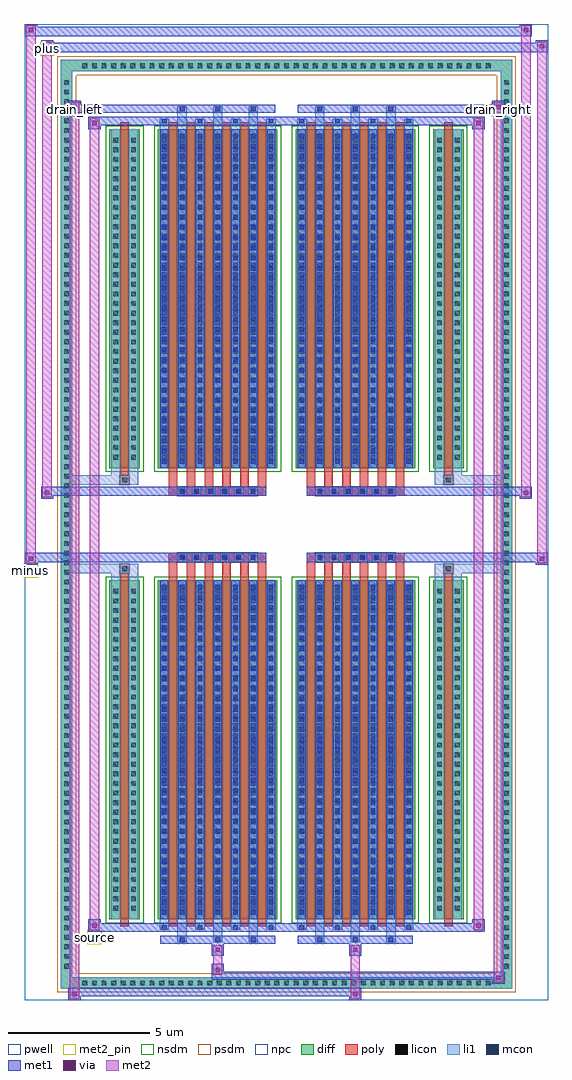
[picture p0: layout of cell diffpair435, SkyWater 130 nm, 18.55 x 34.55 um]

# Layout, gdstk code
import gdstk
lib = gdstk.Library(unit=1e-6, precision=5e-09)
def R(c, l, rs):  # rectangles x0, y0, x1, y1
    for r in rs: c.add(gdstk.rectangle(r[:2], r[2:], *l))
def A(c, l, x, y, w, h, nx, ny, dx, dy):  # array of equal rectangles
    R(c, l, [(x+i*dx, y+j*dy, x+i*dx+w, y+j*dy+h) for i in range(nx) for j in range(ny)])
def P(c, l, *ps):  # polygons
    for p in ps: c.add(gdstk.Polygon(p, *l))
pwell = (64, 44)
diff = (65, 20)
poly = (66, 20)
licon = (66, 44)
li1 = (67, 20)
mcon = (67, 44)
met1 = (68, 20)
via = (68, 44)
met2_pin = (69, 16)
met2 = (69, 20)
nsdm = (93, 44)
psdm = (94, 20)
npc = (95, 20)

diffpair435 = lib.new_cell('diffpair435')
R(diffpair435, pwell, [(-9.26,-16.84,9.26,17.71), (-6.58,-15.03,-0.01,-0.805), (0.01,-15.03,6.58,-0.805), (-6.58,0.805,-0.01,15.03), (0.01,0.805,6.58,15.03)])
A(diffpair435, diff, -7.345, -16.44, 0.41, 0.41, 43, 2, 0.34, 32.47)
A(diffpair435, diff, -7.99, -15.845, 0.41, 0.41, 1, 93, 0, 0.34)
A(diffpair435, diff, 7.58, -15.845, 0.41, 0.41, 1, 93, 0, 0.34)
R(diffpair435, diff, [(-7.345,-16.44,7.345,-16.03), (-7.99,-15.845,-7.58,15.845), (7.58,-15.845,7.99,15.845), (-6.27,-13.985,-5.19,-1.985), (-4.55,-13.985,-0.32,-1.985), (0.32,-13.985,4.55,-1.985), (5.19,-13.985,6.27,-1.985), (-6.27,1.985,-5.19,13.985), (-4.55,1.985,-0.32,13.985), (0.32,1.985,4.55,13.985), (5.19,1.985,6.27,13.985), (-7.345,16.03,7.345,16.44)])
P(diffpair435, diff, [(7.99,16.44),(-7.99,16.44),(-7.99,-16.03),(-7.58,-16.03),(-7.58,16.03),(7.58,16.03),(7.58,-16.03),(-7.58,-16.03),(-7.99,-16.03),(-7.99,-16.44),(7.99,-16.44)])
A(diffpair435, poly, -4.16, -14.235, 0.3, 12.5, 6, 2, 0.63, 15.97)
A(diffpair435, poly, 0.71, -14.235, 0.3, 12.5, 6, 2, 0.63, 15.97)
A(diffpair435, poly, -4.16, -1.735, 0.3, 0.4, 6, 2, 0.63, 3.07)
A(diffpair435, poly, 0.71, -1.735, 0.3, 0.4, 6, 2, 0.63, 3.07)
A(diffpair435, poly, -3.85, -1.335, 0.33, 0.33, 6, 2, 0.5, 2.34)
A(diffpair435, poly, 1.02, -1.335, 0.33, 0.33, 6, 2, 0.5, 2.34)
R(diffpair435, poly, [(-5.88,-14.235,-5.58,-1.735), (5.58,-14.235,5.88,-1.735), (-5.895,-1.735,-5.565,-1.405), (-5.895,-1.735,-5.565,-1.405), (5.565,-1.735,5.895,-1.405), (5.565,-1.735,5.895,-1.405), (-4.16,-1.335,-0.71,-1.005), (0.71,-1.335,4.16,-1.005), (-4.16,1.005,-0.71,1.335), (0.71,1.005,4.16,1.335), (-5.895,1.405,-5.565,1.735), (-5.895,1.405,-5.565,1.735), (5.565,1.405,5.895,1.735), (5.565,1.405,5.895,1.735), (-5.88,1.735,-5.58,14.235), (5.58,1.735,5.88,14.235)])
A(diffpair435, licon, -7.225, -16.32, 0.17, 0.17, 43, 2, 0.34, 32.47)
A(diffpair435, licon, -7.87, -15.725, 0.17, 0.17, 1, 93, 0, 0.34)
A(diffpair435, licon, 7.7, -15.725, 0.17, 0.17, 1, 93, 0, 0.34)
A(diffpair435, licon, -6.13, -13.68, 0.17, 0.17, 1, 34, 0, 0.34)
A(diffpair435, licon, -5.5, -13.68, 0.17, 0.17, 1, 34, 0, 0.34)
A(diffpair435, licon, -4.41, -13.68, 0.17, 0.17, 7, 34, 0.63, 0.34)
A(diffpair435, licon, 0.46, -13.68, 0.17, 0.17, 7, 34, 0.63, 0.34)
A(diffpair435, licon, 5.33, -13.68, 0.17, 0.17, 1, 34, 0, 0.34)
A(diffpair435, licon, 5.96, -13.68, 0.17, 0.17, 1, 34, 0, 0.34)
A(diffpair435, licon, -3.77, -1.255, 0.17, 0.17, 6, 2, 0.5, 2.34)
A(diffpair435, licon, 1.1, -1.255, 0.17, 0.17, 6, 2, 0.5, 2.34)
A(diffpair435, licon, -6.13, 2.29, 0.17, 0.17, 1, 34, 0, 0.34)
A(diffpair435, licon, -5.5, 2.29, 0.17, 0.17, 1, 34, 0, 0.34)
A(diffpair435, licon, -4.41, 2.29, 0.17, 0.17, 7, 34, 0.63, 0.34)
A(diffpair435, licon, 0.46, 2.29, 0.17, 0.17, 7, 34, 0.63, 0.34)
A(diffpair435, licon, 5.33, 2.29, 0.17, 0.17, 1, 34, 0, 0.34)
A(diffpair435, licon, 5.96, 2.29, 0.17, 0.17, 1, 34, 0, 0.34)
R(diffpair435, licon, [(-5.815,-1.655,-5.645,-1.485), (5.645,-1.655,5.815,-1.485), (-5.815,1.485,-5.645,1.655), (5.645,1.485,5.815,1.655)])
A(diffpair435, li1, -7.305, -16.4, 0.33, 0.33, 43, 2, 0.34, 32.47)
A(diffpair435, li1, -7.95, -15.805, 0.33, 0.33, 1, 93, 0, 0.34)
A(diffpair435, li1, 7.62, -15.805, 0.33, 0.33, 1, 93, 0, 0.34)
A(diffpair435, li1, -3.86, -14.79, 0.33, 0.805, 3, 2, 1.26, 28.775)
A(diffpair435, li1, -3.78, -14.79, 0.17, 0.17, 3, 2, 1.26, 29.41)
A(diffpair435, li1, 1.01, -14.79, 0.33, 0.805, 3, 2, 1.26, 28.775)
A(diffpair435, li1, 1.09, -14.79, 0.17, 0.17, 3, 2, 1.26, 29.41)
A(diffpair435, li1, -4.49, -14.36, 0.33, 0.375, 4, 2, 1.26, 28.345)
A(diffpair435, li1, -4.41, -14.36, 0.17, 0.17, 4, 2, 1.26, 28.55)
A(diffpair435, li1, 0.38, -14.36, 0.33, 0.375, 4, 2, 1.26, 28.345)
A(diffpair435, li1, 0.46, -14.36, 0.17, 0.17, 4, 2, 1.26, 28.55)
A(diffpair435, li1, -4.49, -13.985, 0.33, 12, 7, 2, 0.63, 15.97)
A(diffpair435, li1, 0.38, -13.985, 0.33, 12, 7, 2, 0.63, 15.97)
A(diffpair435, li1, -4.41, -13.83, 0.17, 0.17, 7, 33, 0.63, 0.36)
A(diffpair435, li1, -4.41, -13.83, 0.17, 11.69, 7, 2, 0.63, 15.97)
A(diffpair435, li1, 0.46, -13.83, 0.17, 0.17, 7, 33, 0.63, 0.36)
A(diffpair435, li1, 0.46, -13.83, 0.17, 11.69, 7, 2, 0.63, 15.97)
A(diffpair435, li1, -6.21, -13.76, 0.33, 0.33, 1, 34, 0, 0.34)
A(diffpair435, li1, -5.58, -13.76, 0.33, 0.33, 1, 34, 0, 0.34)
A(diffpair435, li1, -4.49, -13.76, 0.33, 0.33, 7, 34, 0.63, 0.34)
A(diffpair435, li1, 0.38, -13.76, 0.33, 0.33, 7, 34, 0.63, 0.34)
A(diffpair435, li1, 5.25, -13.76, 0.33, 0.33, 1, 34, 0, 0.34)
A(diffpair435, li1, 5.88, -13.76, 0.33, 0.33, 1, 34, 0, 0.34)
A(diffpair435, li1, -3.85, -1.335, 0.33, 0.33, 6, 2, 0.5, 2.34)
A(diffpair435, li1, 1.02, -1.335, 0.33, 0.33, 6, 2, 0.5, 2.34)
A(diffpair435, li1, -4.41, 2.14, 0.17, 0.17, 7, 33, 0.63, 0.36)
A(diffpair435, li1, 0.46, 2.14, 0.17, 0.17, 7, 33, 0.63, 0.36)
A(diffpair435, li1, -6.21, 2.21, 0.33, 0.33, 1, 34, 0, 0.34)
A(diffpair435, li1, -5.58, 2.21, 0.33, 0.33, 1, 34, 0, 0.34)
A(diffpair435, li1, -4.49, 2.21, 0.33, 0.33, 7, 34, 0.63, 0.34)
A(diffpair435, li1, 0.38, 2.21, 0.33, 0.33, 7, 34, 0.63, 0.34)
A(diffpair435, li1, 5.25, 2.21, 0.33, 0.33, 1, 34, 0, 0.34)
A(diffpair435, li1, 5.88, 2.21, 0.33, 0.33, 1, 34, 0, 0.34)
R(diffpair435, li1, [(-7.99,-16.44,-7.58,-16.03), (-7.99,-16.44,-7.58,-16.03), (-7.58,-16.44,7.58,-16.03), (7.58,-16.44,7.99,-16.03), (7.58,-16.44,7.99,-16.03), (-7.99,-16.03,-7.58,16.03), (7.58,-16.03,7.99,16.03), (-6.21,-13.985,-5.88,-1.985), (-5.58,-13.985,-5.25,-1.985), (5.25,-13.985,5.58,-1.985), (5.88,-13.985,6.21,-1.985), (-6.21,-1.985,-5.88,-1.405), (-5.58,-1.985,-5.25,-1.405), (5.25,-1.985,5.58,-1.405), (5.88,-1.985,6.21,-1.405), (-7.99,-1.735,-5.895,-1.405), (-6.21,-1.735,-5.895,-1.405), (-5.895,-1.735,-5.565,-1.405), (-5.565,-1.735,-5.25,-1.405), (5.25,-1.735,5.565,-1.405), (5.565,-1.735,5.895,-1.405), (5.565,-1.735,7.99,-1.405), (5.895,-1.735,6.21,-1.405), (-7.99,1.405,-5.895,1.735), (-6.21,1.405,-5.895,1.735), (-6.21,1.405,-5.88,1.985), (-5.895,1.405,-5.565,1.735), (-5.58,1.405,-5.25,1.985), (-5.565,1.405,-5.25,1.735), (5.25,1.405,5.565,1.735), (5.25,1.405,5.58,1.985), (5.565,1.405,5.895,1.735), (5.565,1.405,7.99,1.735), (5.88,1.405,6.21,1.985), (5.895,1.405,6.21,1.735), (-6.21,1.985,-5.88,13.985), (-5.58,1.985,-5.25,13.985), (5.25,1.985,5.58,13.985), (5.88,1.985,6.21,13.985), (-7.99,16.03,-7.58,16.44), (-7.99,16.03,-7.58,16.44), (-7.58,16.03,7.58,16.44), (7.58,16.03,7.99,16.44), (7.58,16.03,7.99,16.44)])
A(diffpair435, mcon, -3.78, -14.79, 0.17, 0.17, 3, 2, 1.26, 29.41)
A(diffpair435, mcon, 1.09, -14.79, 0.17, 0.17, 3, 2, 1.26, 29.41)
A(diffpair435, mcon, -4.41, -14.36, 0.17, 0.17, 4, 2, 1.26, 28.55)
A(diffpair435, mcon, 0.46, -14.36, 0.17, 0.17, 4, 2, 1.26, 28.55)
A(diffpair435, mcon, -4.41, -13.83, 0.17, 0.17, 7, 33, 0.63, 0.36)
A(diffpair435, mcon, 0.46, -13.83, 0.17, 0.17, 7, 33, 0.63, 0.36)
A(diffpair435, mcon, -3.77, -1.255, 0.17, 0.17, 6, 2, 0.5, 2.34)
A(diffpair435, mcon, 1.1, -1.255, 0.17, 0.17, 6, 2, 0.5, 2.34)
A(diffpair435, mcon, -4.41, 2.14, 0.17, 0.17, 7, 33, 0.63, 0.36)
A(diffpair435, mcon, 0.46, 2.14, 0.17, 0.17, 7, 33, 0.63, 0.36)
A(diffpair435, met1, -3.84, -14.85, 0.29, 0.29, 3, 2, 1.26, 29.41)
A(diffpair435, met1, 1.03, -14.85, 0.29, 0.29, 3, 2, 1.26, 29.41)
A(diffpair435, met1, -4.47, -14.42, 0.29, 0.29, 4, 2, 1.26, 28.55)
A(diffpair435, met1, 0.4, -14.42, 0.29, 0.29, 4, 2, 1.26, 28.55)
A(diffpair435, met1, -4.47, -13.985, 0.29, 12, 7, 2, 0.63, 15.97)
A(diffpair435, met1, 0.4, -13.985, 0.29, 12, 7, 2, 0.63, 15.97)
A(diffpair435, met1, -4.47, -13.89, 0.29, 0.29, 7, 33, 0.63, 0.36)
A(diffpair435, met1, 0.4, -13.89, 0.29, 0.29, 7, 33, 0.63, 0.36)
A(diffpair435, met1, -3.83, -1.315, 0.29, 0.29, 6, 2, 0.5, 2.34)
A(diffpair435, met1, 1.04, -1.315, 0.29, 0.29, 6, 2, 0.5, 2.34)
A(diffpair435, met1, -4.47, 2.08, 0.29, 0.29, 7, 33, 0.63, 0.36)
A(diffpair435, met1, 0.4, 2.08, 0.29, 0.29, 7, 33, 0.63, 0.36)
R(diffpair435, met1, [(-7.72,-16.84,-7.29,-16.41), (2.22,-16.84,2.65,-16.41), (-7.72,-16.7,2.65,-16.41), (7.29,-16.27,7.72,-15.84), (-2.65,-16.13,7.72,-15.84), (-2.65,-15.99,-2.22,-15.56), (-2.65,-15.28,-2.22,-14.85), (2.22,-15.28,2.65,-14.85), (-4.47,-14.85,-0.4,-14.56), (0.4,-14.85,4.47,-14.56), (-7.01,-14.42,-6.58,-13.99), (-7.01,-14.42,-4.47,-14.13), (-4.47,-14.42,-0.4,-14.13), (-0.4,-14.42,0.4,-14.13), (0.4,-14.42,4.47,-14.13), (4.47,-14.42,7.01,-14.13), (6.58,-14.42,7.01,-13.99), (-9.26,-1.435,-8.83,-1.005), (8.83,-1.435,9.26,-1.005), (-9.26,-1.335,-0.71,-1.005), (-4.16,-1.335,-0.71,-1.005), (0.71,-1.335,4.16,-1.005), (0.71,-1.335,9.26,-1.005), (-8.69,0.905,-8.26,1.335), (8.26,0.905,8.69,1.335), (-8.69,1.005,-4.16,1.335), (-4.16,1.005,-0.71,1.335), (0.71,1.005,4.16,1.335), (4.16,1.005,8.69,1.335), (-7.01,13.99,-6.58,14.42), (6.58,13.99,7.01,14.42), (-7.01,14.13,-4.47,14.42), (-4.47,14.13,-0.4,14.42), (-0.4,14.13,0.4,14.42), (0.4,14.13,4.47,14.42), (4.47,14.13,7.01,14.42), (-7.72,14.56,-7.29,14.99), (-7.72,14.56,-4.47,14.85), (-4.47,14.56,-0.4,14.85), (0.4,14.56,4.47,14.85), (4.47,14.56,7.72,14.85), (7.29,14.56,7.72,14.99), (-8.69,16.71,-8.26,17.14), (-8.69,16.71,-6.58,17.04), (-6.58,16.71,6.58,17.04), (6.58,16.71,9.26,17.04), (8.83,16.71,9.26,17.14), (-9.26,17.28,-8.83,17.71), (-9.26,17.28,-6.58,17.61), (-6.58,17.28,6.58,17.61), (6.58,17.28,8.69,17.61), (8.26,17.28,8.69,17.71)])
R(diffpair435, via, [(-7.58,-16.7,-7.43,-16.55), (2.36,-16.7,2.51,-16.55), (7.43,-16.13,7.58,-15.98), (-2.51,-15.85,-2.36,-15.7), (-2.51,-15.14,-2.36,-14.99), (2.36,-15.14,2.51,-14.99), (-6.87,-14.28,-6.72,-14.13), (6.72,-14.28,6.87,-14.13), (-9.12,-1.295,-8.97,-1.145), (8.97,-1.295,9.12,-1.145), (-8.55,1.045,-8.4,1.195), (8.4,1.045,8.55,1.195), (-6.87,14.13,-6.72,14.28), (6.72,14.13,6.87,14.28), (-7.58,14.7,-7.43,14.85), (7.43,14.7,7.58,14.85), (-8.55,16.85,-8.4,17), (8.97,16.85,9.12,17), (-9.12,17.42,-8.97,17.57), (8.4,17.42,8.55,17.57)])
R(diffpair435, met2_pin, [(-7.045,-14.87,-6.545,-14.37), (-9.295,-1.885,-8.795,-1.385), (-7.755,14.44,-7.255,14.94), (7.255,14.44,7.755,14.94), (-8.725,16.59,-8.225,17.09)])
R(diffpair435, met2, [(-7.67,-16.79,-7.34,-16.46), (-7.67,-16.79,-7.34,14.94), (2.27,-16.79,2.6,-16.46), (2.27,-16.46,2.6,-15.23), (7.34,-16.22,7.67,-15.89), (7.34,-16.22,7.67,14.94), (-2.6,-15.94,-2.27,-15.61), (-2.6,-15.61,-2.27,-15.23), (-2.6,-15.23,-2.27,-14.9), (2.27,-15.23,2.6,-14.9), (-6.96,-14.37,-6.63,-14.04), (-6.96,-14.37,-6.63,14.37), (6.63,-14.37,6.96,-14.04), (6.63,-14.37,6.96,14.37), (-9.21,-1.385,-8.88,-1.055), (-9.21,-1.385,-8.88,17.66), (8.88,-1.385,9.21,-1.055), (8.88,-1.385,9.21,17.09), (-8.64,0.955,-8.31,1.285), (-8.64,0.955,-8.31,17.09), (8.31,0.955,8.64,1.285), (8.31,0.955,8.64,17.66), (-6.96,14.04,-6.63,14.37), (6.63,14.04,6.96,14.37), (-7.67,14.61,-7.34,14.94), (7.34,14.61,7.67,14.94), (-8.64,16.76,-8.31,17.09), (8.88,16.76,9.21,17.09), (-9.21,17.33,-8.88,17.66), (8.31,17.33,8.64,17.66)])
P(diffpair435, met2, [(9.21,-1.385),(9.21,-1.385),(9.21,-1.055),(9.21,-1.055)],
  [(9.21,16.76),(9.21,16.76),(9.21,17.09),(9.21,17.09)],
  [(-8.88,-1.385),(-8.88,-1.385),(-8.88,-1.055),(-8.88,-1.055)],
  [(-8.88,17.33),(-8.88,17.33),(-8.88,17.66),(-8.88,17.66)],
  [(8.64,0.955),(8.64,0.955),(8.64,1.285),(8.64,1.285)],
  [(8.64,17.33),(8.64,17.33),(8.64,17.66),(8.64,17.66)],
  [(-8.31,0.955),(-8.31,0.955),(-8.31,1.285),(-8.31,1.285)],
  [(-8.31,16.76),(-8.31,16.76),(-8.31,17.09),(-8.31,17.09)],
  [(-7.34,-16.79),(-7.34,-16.79),(-7.34,-16.46),(-7.34,-16.46)],
  [(-7.34,14.61),(-7.34,14.61),(-7.34,14.94),(-7.34,14.94)],
  [(7.67,-16.22),(7.67,-16.22),(7.67,-15.89),(7.67,-15.89)],
  [(7.67,14.61),(7.67,14.61),(7.67,14.94),(7.67,14.94)],
  [(-6.63,-14.37),(-6.63,-14.37),(-6.63,-14.04),(-6.63,-14.04)],
  [(-6.63,14.04),(-6.63,14.04),(-6.63,14.37),(-6.63,14.37)],
  [(6.96,-14.37),(6.96,-14.37),(6.96,-14.04),(6.96,-14.04)],
  [(6.96,14.04),(6.96,14.04),(6.96,14.37),(6.96,14.37)])
R(diffpair435, nsdm, [(-6.4,-14.115,-5.06,-1.855), (-4.68,-14.115,-0.19,-1.855), (0.19,-14.115,4.68,-1.855), (5.06,-14.115,6.4,-1.855), (-6.4,1.855,-5.06,14.115), (-4.68,1.855,-0.19,14.115), (0.19,1.855,4.68,14.115), (5.06,1.855,6.4,14.115)])
P(diffpair435, psdm, [(8.12,16.57),(-8.12,16.57),(-8.12,-15.9),(-7.45,-15.9),(-7.45,15.9),(7.45,15.9),(7.45,-15.9),(-7.45,-15.9),(-8.12,-15.9),(-8.12,-16.57),(8.12,-16.57)])
A(diffpair435, npc, -3.87, -1.355, 0.37, 0.37, 6, 2, 0.5, 2.34)
A(diffpair435, npc, 1, -1.355, 0.37, 0.37, 6, 2, 0.5, 2.34)
R(diffpair435, npc, [(-5.915,-1.755,-5.545,-1.385), (5.545,-1.755,5.915,-1.385), (-3.87,-1.355,-3,-0.985), (-3.87,-1.355,-3,-0.985), (-3.37,-1.355,-2.5,-0.985), (-3.37,-1.355,-2.5,-0.985), (-2.87,-1.355,-2,-0.985), (-2.87,-1.355,-2,-0.985), (-2.37,-1.355,-1.5,-0.985), (-2.37,-1.355,-1.5,-0.985), (-1.87,-1.355,-1,-0.985), (-1.87,-1.355,-1,-0.985), (1,-1.355,1.87,-0.985), (1,-1.355,1.87,-0.985), (1.5,-1.355,2.37,-0.985), (1.5,-1.355,2.37,-0.985), (2,-1.355,2.87,-0.985), (2,-1.355,2.87,-0.985), (2.5,-1.355,3.37,-0.985), (2.5,-1.355,3.37,-0.985), (3,-1.355,3.87,-0.985), (3,-1.355,3.87,-0.985), (-3.87,0.985,-3,1.355), (-3.87,0.985,-3,1.355), (-3.37,0.985,-2.5,1.355), (-3.37,0.985,-2.5,1.355), (-2.87,0.985,-2,1.355), (-2.87,0.985,-2,1.355), (-2.37,0.985,-1.5,1.355), (-2.37,0.985,-1.5,1.355), (-1.87,0.985,-1,1.355), (-1.87,0.985,-1,1.355), (1,0.985,1.87,1.355), (1,0.985,1.87,1.355), (1.5,0.985,2.37,1.355), (1.5,0.985,2.37,1.355), (2,0.985,2.87,1.355), (2,0.985,2.87,1.355), (2.5,0.985,3.37,1.355), (2.5,0.985,3.37,1.355), (3,0.985,3.87,1.355), (3,0.985,3.87,1.355), (-5.915,1.385,-5.545,1.755), (5.545,1.385,5.915,1.755)])
diffpair435.add(gdstk.Label('minus', (-9.045,-1.635), layer=69, texttype=5))
diffpair435.add(gdstk.Label('drain_right', (7.505,14.69), layer=69, texttype=5))
diffpair435.add(gdstk.Label('drain_left', (-7.505,14.69), layer=69, texttype=5))
diffpair435.add(gdstk.Label('source', (-6.795,-14.62), layer=69, texttype=5))
diffpair435.add(gdstk.Label('plus', (-8.475,16.84), layer=69, texttype=5))

lib.write_gds('diffpair435.gds')
